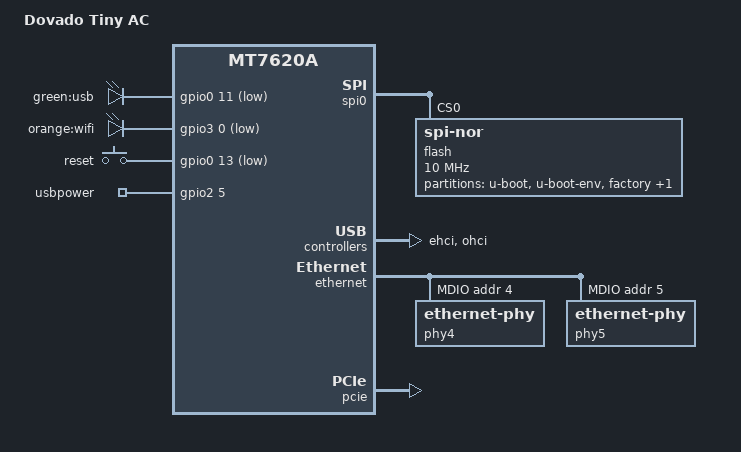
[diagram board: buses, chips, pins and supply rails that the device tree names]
#include "mt7620a.dtsi"

#include <dt-bindings/gpio/gpio.h>
#include <dt-bindings/input/input.h>

/ {
	compatible = "dovado,tiny-ac", "ralink,mt7620a-soc";
	model = "Dovado Tiny AC";

	leds {
		compatible = "gpio-leds";

		usb {
			label = "green:usb";
			gpios = <&gpio0 11 GPIO_ACTIVE_LOW>;
			trigger-sources = <&ohci_port1>, <&ehci_port1>;
			linux,default-trigger = "usbport";
		};

		wifi {
			label = "orange:wifi";
			gpios = <&gpio3 0 GPIO_ACTIVE_LOW>;
		};
	};

	keys {
		compatible = "gpio-keys";

		reset {
			label = "reset";
			gpios = <&gpio0 13 GPIO_ACTIVE_LOW>;
			linux,code = <KEY_RESTART>;
		};
	};

	gpio_export {
		compatible = "gpio-export";
		#size-cells = <0>;

		usbpower {
			gpio-export,name = "usbpower";
			gpio-export,output = <1>;
			gpios = <&gpio2 5 GPIO_ACTIVE_HIGH>;
		};
	};
};

&gpio2 {
	status = "okay";
};

&gpio3 {
	status = "okay";
};

&spi0 {
	status = "okay";

	flash@0 {
		compatible = "jedec,spi-nor";
		reg = <0>;
		spi-max-frequency = <10000000>;

		partitions {
			compatible = "fixed-partitions";
			#address-cells = <1>;
			#size-cells = <1>;

			partition@0 {
				label = "u-boot";
				reg = <0x0 0x30000>;
				read-only;
			};

			partition@30000 {
				label = "u-boot-env";
				reg = <0x30000 0x10000>;
				read-only;
			};

			factory: partition@40000 {
				label = "factory";
				reg = <0x40000 0x10000>;
				read-only;
			};

			partition@50000 {
				compatible = "denx,uimage";
				label = "firmware";
				reg = <0x50000 0x7b0000>;
			};
		};
	};
};

&ehci {
	status = "okay";
};

&ohci {
	status = "okay";
};

&ethernet {
	pinctrl-names = "default";
	pinctrl-0 = <&rgmii1_pins &rgmii2_pins &mdio_pins>;

	mediatek,portmap = "llllw";

	port@4 {
		status = "okay";
		phy-mode = "rgmii";
		phy-handle = <&phy4>;
	};

	port@5 {
		status = "okay";
		phy-mode = "rgmii";
		phy-handle = <&phy5>;
	};

	mdio-bus {
		status = "okay";

		phy4: ethernet-phy@4 {
			reg = <4>;
			phy-mode = "rgmii";
		};

		phy5: ethernet-phy@5 {
			reg = <5>;
			phy-mode = "rgmii";
		};
	};
};

&gsw {
	mediatek,port4 = "gmac";
};

&pcie {
	status = "okay";
};

&state_default {
	gpio {
		groups = "uartf", "nd_sd", "wled";
		function = "gpio";
	};
};

&pcie0 {
	mt76@0,0 {
		reg = <0x0000 0 0 0 0>;
		mediatek,mtd-eeprom = <&factory 0x8000>;
		ieee80211-freq-limit = <5000000 6000000>;
	};
};
